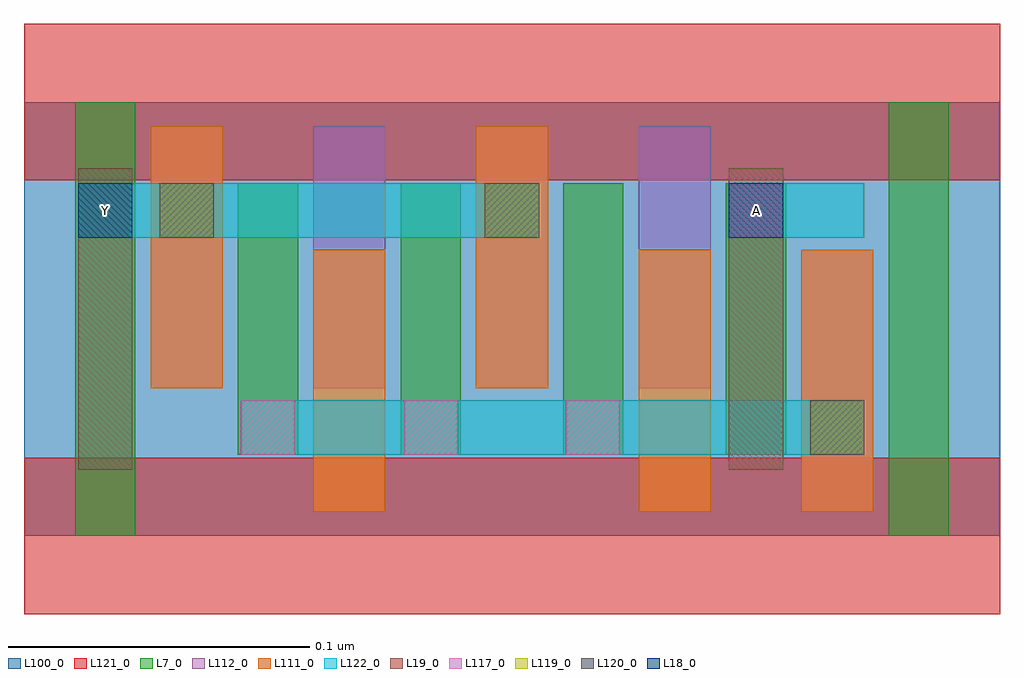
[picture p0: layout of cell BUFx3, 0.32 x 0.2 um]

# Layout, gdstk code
import gdstk
lib = gdstk.Library(unit=1e-6, precision=2.5e-10)
def R(c, l, rs):  # rectangles x0, y0, x1, y1
    for r in rs: c.add(gdstk.rectangle(r[:2], r[2:], *l))
def A(c, l, x, y, w, h, nx, ny, dx, dy):  # array of equal rectangles
    R(c, l, [(x+i*dx, y+j*dy, x+i*dx+w, y+j*dy+h) for i in range(nx) for j in range(ny)])
L7_0 = (7, 0)
L18_0 = (18, 0)
L19_0 = (19, 0)
L100_0 = (100, 0)
L111_0 = (111, 0)
L112_0 = (112, 0)
L117_0 = (117, 0)
L119_0 = (119, 0)
L120_0 = (120, 0)
L121_0 = (121, 0)
L122_0 = (122, 0)

bufx3 = lib.new_cell('BUFx3')
A(bufx3, L7_0, 0.071, 0.027, 0.02, 0.09, 4, 1, 0.054, 0)
R(bufx3, L7_0, [(0.017,0,0.037,0.144), (0.287,0,0.307,0.144)])
R(bufx3, L18_0, [(0.018,0.099,0.036,0.117), (0.234,0.099,0.252,0.117)])
R(bufx3, L19_0, [(0.018,0.022,0.036,0.122), (0.234,0.022,0.252,0.122)])
R(bufx3, L100_0, [(0,0,0.324,0.144)])
R(bufx3, L111_0, [(0.096,0.008,0.12,0.095), (0.204,0.008,0.228,0.095), (0.258,0.008,0.282,0.095), (0.042,0.049,0.066,0.136), (0.15,0.049,0.174,0.136)])
A(bufx3, L112_0, 0.042, 0.049, 0.024, 0.087, 4, 1, 0.054, 0)
R(bufx3, L112_0, [(0.258,0.008,0.282,0.095)])
A(bufx3, L117_0, 0.072, 0.027, 0.018, 0.018, 3, 1, 0.054, 0)
R(bufx3, L117_0, [(0.234,0.099,0.252,0.117)])
R(bufx3, L119_0, [(0.261,0.027,0.279,0.045), (0.045,0.099,0.063,0.117), (0.153,0.099,0.171,0.117)])
R(bufx3, L120_0, [(0.261,0.027,0.279,0.045), (0.045,0.099,0.063,0.117), (0.153,0.099,0.171,0.117)])
R(bufx3, L121_0, [(0,-0.026,0.324,0.026), (0,0.118,0.324,0.17)])
R(bufx3, L122_0, [(0.072,0.027,0.279,0.045), (0.018,0.099,0.171,0.117), (0.234,0.099,0.279,0.117)])
bufx3.add(gdstk.Label('Y', (0.027,0.108), layer=19, texttype=251))
bufx3.add(gdstk.Label('A', (0.243,0.108), layer=19, texttype=251))

lib.write_gds('BUFx3.gds')
